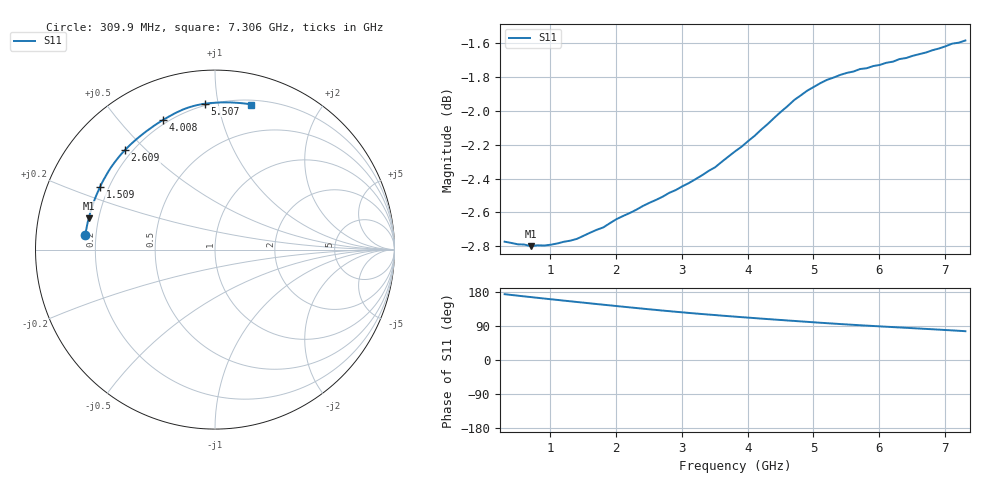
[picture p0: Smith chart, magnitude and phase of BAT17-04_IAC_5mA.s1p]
! Infineon Technologies  Discrete & RF Semiconductors
! BAT17-04
! IAC = 5 mA
! One-Port S-Parameters
# Hz  S  MA  R  50
!f  S11
!Hz  Mag  Ang
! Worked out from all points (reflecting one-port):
!   71 points, 309.9 MHz to 7.306 GHz, reference 50 ohm
!   lowest |S11| = -2.8 dB at 709.6 MHz (marker M1), VSWR 6.26, Z = 8.1 + j5.97 ohm
!   phase of S11 starts at 174 deg and turns -98 deg over the sweep
!   S11 on the Smith chart (normalised r, x): 309.9 MHz: 0.16, +0.05; 1.509 GHz: 0.17, +0.25; 2.609 GHz: 0.17, +0.43; 4.008 GHz: 0.18, +0.66; 5.507 GHz: 0.19, +0.92; 7.306 GHz: 0.24, +1.25
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3.0985e8  0.7268 173.6
6.097e8  0.7254 167.8
7.0965e8  0.7246 166.0
1.0095e9  0.7253 160.3
1.2094e9  0.7267 156.7
1.50925e9  0.7297 151.3
1.6092e9  0.7312 149.4
1.90905e9  0.736 144.2
2.10895e9  0.7396 140.6
2.50875e9  0.7462 133.7
2.6087e9  0.7477 132.1
2.70865e9  0.7493 130.4
3.0085e9  0.7546 125.8
3.30835e9  0.7603 121.3
3.6082e9  0.7673 117.1
3.8081e9  0.7726 114.4
4.008e9  0.7781 111.8
4.4078e9  0.7906 106.8
4.70765e9  0.8001 103.1
4.90755e9  0.8052 100.7
5.10745e9  0.8093 98.3
5.50725e9  0.8149 93.8
5.6072e9  0.8157 92.7
6.10695e9  0.8205 87.8
6.50675e9  0.8244 84.0
6.8066e9  0.8275 81.1
7.10645e9  0.8313 78.1
7.30635e9  0.833 76.0
